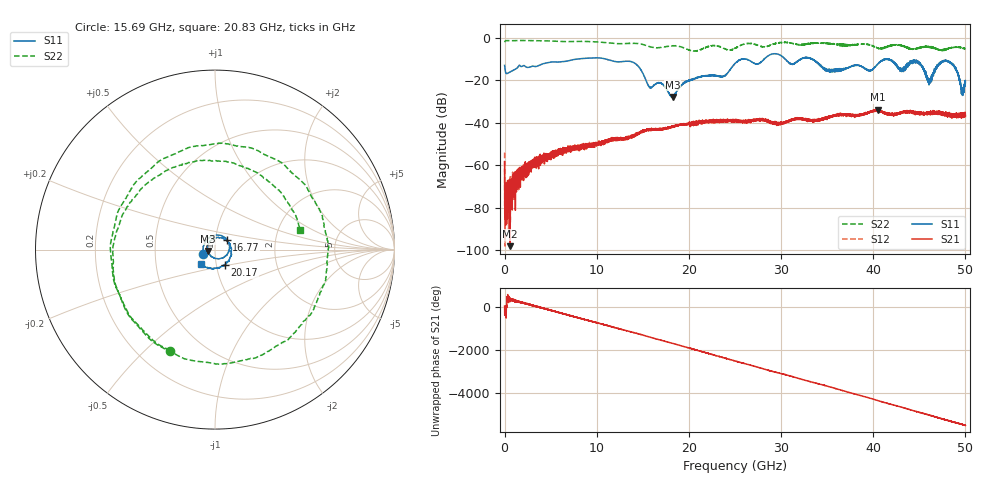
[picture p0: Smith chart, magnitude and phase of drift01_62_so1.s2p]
!Created with skrf (http://scikit-rf.org).
# Hz S RI R 50.0
!freq ReS11 ImS11 ReS21 ImS21 ReS12 ImS12 ReS22 ImS22
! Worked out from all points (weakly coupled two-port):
!   10001 points, 300 kHz to 50 GHz, reference 50 ohm
!   highest |S21| = -33.98 dB at 40.55 GHz (marker M1); lowest = -98.1 dB at 595.3 MHz (marker M2)
!   lowest |S11| = -27.9 dB at 18.27 GHz (marker M3), VSWR 1.08, Z = 46.2 - j0.651 ohm
!   |S11| at or under -10 dB: 10.9 GHz to 25.9 GHz (15 GHz wide, 81.5 % of centre); 33.32 GHz to 41.56 GHz (8.242 GHz wide, 22 % of centre); 41.57 GHz to end of sweep (the widest 3 of 14)
!   |S22| runs from -6.4 to -1.4 dB; largest |S21 - S12| = 0.0036
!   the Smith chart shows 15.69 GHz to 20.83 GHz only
!   S11 on the Smith chart (normalised r, x): 15.69 GHz: 0.88, -0.05; 16.77 GHz: 1.13, +0.13; 20.17 GHz: 1.10, -0.19; 20.83 GHz: 0.85, -0.14
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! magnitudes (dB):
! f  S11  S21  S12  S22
! 300 kHz  -13.1  -58.4  -54.1  -2.1
! 255.3 MHz  -16.9  -77.7  -75.8  -1.4
! 595.3 MHz  -16.2  -98.1  -74.3  -1.5
! 3.05 GHz  -13.4  -57.4  -58.7  -1.4
! 8.335 GHz  -9.9  -51.1  -51.4  -1.8
! 13.89 GHz  -11.5  -46.7  -45.9  -2.7
! 15.69 GHz  -23.1  -43.3  -43.2  -4.2
! 16.67 GHz  -21.2  -43.1  -43.2  -4.8
! 16.77 GHz  -21.3  -43.2  -43.1  -4.7
! 18.27 GHz  -27.9  -41.8  -41.7  -3.9
! 20.17 GHz  -19.9  -40.4  -40.8  -6.0
! 20.83 GHz  -19.0  -39.5  -40.3  -6.3
! 25 GHz  -12.2  -39.5  -39.0  -5.0
! 33.34 GHz  -10.0  -39.1  -38.9  -2.6
! 35.23 GHz  -15.6  -37.7  -37.0  -2.9
! 40.55 GHz  -12.2  -34.0  -34.5  -5.1
! 41.67 GHz  -10.1  -35.5  -36.2  -3.9
! 43.07 GHz  -15.8  -35.5  -35.6  -3.7
! 44.84 GHz  -11.3  -35.6  -35.3  -4.9
! 46.12 GHz  -20.4  -35.7  -35.9  -4.2
! 48.05 GHz  -11.2  -36.2  -36.2  -5.1
! 50 GHz  -21.3  -37.1  -36.6  -5.3
